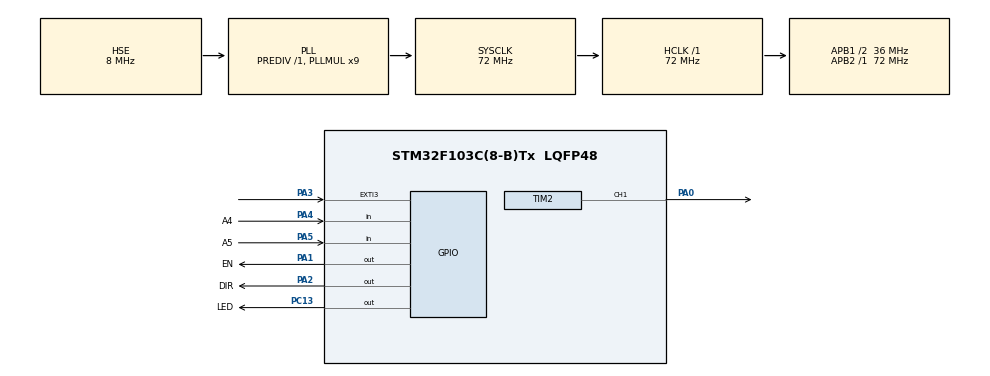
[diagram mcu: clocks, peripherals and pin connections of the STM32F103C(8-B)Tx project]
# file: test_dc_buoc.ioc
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Mcu.Family=STM32F1
Mcu.Name=STM32F103C(8-B)Tx
Mcu.Package=LQFP48
NVIC.EXTI3_IRQn=true\:1\:0\:true\:false\:true\:true\:true\:true
NVIC.PriorityGroup=NVIC_PRIORITYGROUP_4
NVIC.TIM2_IRQn=true\:2\:0\:true\:false\:true\:true\:true\:true
PA0-WKUP.Signal=S_TIM2_CH1_ETR
PA1.GPIO_Label=EN
PA1.GPIO_Speed=GPIO_SPEED_FREQ_HIGH
PA1.Signal=GPIO_Output
PA2.GPIO_Label=DIR
PA2.GPIO_Speed=GPIO_SPEED_FREQ_HIGH
PA2.Signal=GPIO_Output
PA3.Signal=GPXTI3
PA4.GPIO_Label=A4
PA4.GPIO_PuPd=GPIO_PULLUP
PA4.Signal=GPIO_Input
PA5.GPIO_Label=A5
PA5.GPIO_PuPd=GPIO_PULLUP
PA5.Signal=GPIO_Input
PC13-TAMPER-RTC.GPIO_Label=LED
PC13-TAMPER-RTC.Signal=GPIO_Output
PD0-OSC_IN.Mode=HSE-External-Oscillator
PD0-OSC_IN.Signal=RCC_OSC_IN
PD1-OSC_OUT.Mode=HSE-External-Oscillator
PD1-OSC_OUT.Signal=RCC_OSC_OUT
ProjectManager.HeapSize=0x200
ProjectManager.StackSize=0x400
ProjectManager.TargetToolchain=MDK-ARM V5.32
RCC.AHBFreq_Value=72000000
RCC.APB1CLKDivider=RCC_HCLK_DIV2
RCC.APB1Freq_Value=36000000
RCC.APB1TimFreq_Value=72000000
RCC.APB2Freq_Value=72000000
RCC.APB2TimFreq_Value=72000000
RCC.HCLKFreq_Value=72000000
RCC.PLLMUL=RCC_PLL_MUL9
RCC.PLLSourceVirtual=RCC_PLLSOURCE_HSE
RCC.SYSCLKFreq_VALUE=72000000
RCC.SYSCLKSource=RCC_SYSCLKSOURCE_PLLCLK
RCC.USBFreq_Value=72000000
SH.S_TIM2_CH1_ETR.0=TIM2_CH1,PWM Generation1 CH1
TIM1.Prescaler=71
TIM2.Channel-PWM\ Generation1\ CH1=TIM_CHANNEL_1
TIM2.Period=999
TIM2.Prescaler=71
VP_SYS_VS_ND.Mode=No_Debug
VP_TIM1_VS_ClockSourceINT.Mode=Internal
VP_TIM2_VS_ClockSourceINT.Mode=Internal
board=custom

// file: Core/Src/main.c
/* USER CODE BEGIN Header */
/**
  ******************************************************************************
  * @file           : main.c
  * @brief          : Main program body
  ******************************************************************************
  * @attention
  *
  * Copyright (c) 2022 STMicroelectronics.
  * All rights reserved.
  *
  * This software is licensed under terms that can be found in the LICENSE file
  * in the root directory of this software component.
  * If no LICENSE file comes with this software, it is provided AS-IS.
  *
  ******************************************************************************
  */
/* USER CODE END Header */
#include "main.h"

 TIM_HandleTypeDef htim1;
TIM_HandleTypeDef htim2;

void SystemClock_Config(void);
static void MX_GPIO_Init(void);
static void MX_TIM1_Init(void);
static void MX_TIM2_Init(void);

/* USER CODE BEGIN 0 */
void delay_us(uint16_t us)
{
	__HAL_TIM_SetCounter(&htim1,0);
	while(__HAL_TIM_GetCounter(&htim1) < us);
}
void delay_ms(uint16_t ms)
{
	for(uint16_t i = 0; i<ms; i++)
	{
		delay_us(1000);
	}
}

void HAL_GPIO_EXTI_Callback(uint16_t GPIO_PIN)
	{
		if(GPIO_PIN == GPIO_PIN_3)
		{
			HAL_GPIO_WritePin(EN_GPIO_Port,EN_Pin, GPIO_PIN_SET);
		}
	}
/* USER CODE END 0 */

int main(void)
{

  /* MCU Configuration--------------------------------------------------------*/

  /* Reset of all peripherals, Initializes the Flash interface and the Systick. */
  HAL_Init();

  /* Configure the system clock */
  SystemClock_Config();

  /* Initialize all configured peripherals */
  MX_GPIO_Init();
  MX_TIM1_Init();
  MX_TIM2_Init();
  /* USER CODE BEGIN 2 */
	HAL_TIM_Base_Start(&htim1);
	HAL_TIM_PWM_Start(&htim2,TIM_CHANNEL_1);

  /* USER CODE END 2 */

  /* Infinite loop */
  while (1)
  {

    /* USER CODE BEGIN 3 */

			//HAL_GPIO_WritePin(DIR_GPIO_Port, DIR_Pin, GPIO_PIN_SET);
			htim2.Instance->CCR1 = 0;
			HAL_GPIO_WritePin(EN_GPIO_Port, EN_Pin, GPIO_PIN_RESET);
			htim2.Instance->CCR1 = 500;
			delay_ms(5000);

			htim2.Instance->CCR1 = 0;
			delay_ms(2000);

			HAL_GPIO_WritePin(DIR_GPIO_Port, DIR_Pin, GPIO_PIN_RESET);
			htim2.Instance->CCR1 = 500;
			delay_ms(5000);

			htim2.Instance->CCR1 = 0;
			delay_ms(2000);
  }
  /* USER CODE END 3 */
}

void SystemClock_Config(void)
{
  RCC_OscInitTypeDef RCC_OscInitStruct = {0};
  RCC_ClkInitTypeDef RCC_ClkInitStruct = {0};

  /** Initializes the RCC Oscillators according to the specified parameters
  * in the RCC_OscInitTypeDef structure.
  */
  RCC_OscInitStruct.OscillatorType = RCC_OSCILLATORTYPE_HSE;
  RCC_OscInitStruct.HSEState = RCC_HSE_ON;
  RCC_OscInitStruct.HSEPredivValue = RCC_HSE_PREDIV_DIV1;
  RCC_OscInitStruct.HSIState = RCC_HSI_ON;
  RCC_OscInitStruct.PLL.PLLState = RCC_PLL_ON;
  RCC_OscInitStruct.PLL.PLLSource = RCC_PLLSOURCE_HSE;
  RCC_OscInitStruct.PLL.PLLMUL = RCC_PLL_MUL9;
  if (HAL_RCC_OscConfig(&RCC_OscInitStruct) != HAL_OK)
  {
    Error_Handler();
  }

  /** Initializes the CPU, AHB and APB buses clocks
  */
  RCC_ClkInitStruct.ClockType = RCC_CLOCKTYPE_HCLK|RCC_CLOCKTYPE_SYSCLK
                              |RCC_CLOCKTYPE_PCLK1|RCC_CLOCKTYPE_PCLK2;
  RCC_ClkInitStruct.SYSCLKSource = RCC_SYSCLKSOURCE_PLLCLK;
  RCC_ClkInitStruct.AHBCLKDivider = RCC_SYSCLK_DIV1;
  RCC_ClkInitStruct.APB1CLKDivider = RCC_HCLK_DIV2;
  RCC_ClkInitStruct.APB2CLKDivider = RCC_HCLK_DIV1;

  if (HAL_RCC_ClockConfig(&RCC_ClkInitStruct, FLASH_LATENCY_2) != HAL_OK)
  {
    Error_Handler();
  }
}

static void MX_TIM1_Init(void)
{

  TIM_ClockConfigTypeDef sClockSourceConfig = {0};
  TIM_MasterConfigTypeDef sMasterConfig = {0};

  htim1.Instance = TIM1;
  htim1.Init.Prescaler = 71;
  htim1.Init.CounterMode = TIM_COUNTERMODE_UP;
  htim1.Init.Period = 65535;
  htim1.Init.ClockDivision = TIM_CLOCKDIVISION_DIV1;
  htim1.Init.RepetitionCounter = 0;
  htim1.Init.AutoReloadPreload = TIM_AUTORELOAD_PRELOAD_DISABLE;
  if (HAL_TIM_Base_Init(&htim1) != HAL_OK)
  {
    Error_Handler();
  }
  sClockSourceConfig.ClockSource = TIM_CLOCKSOURCE_INTERNAL;
  if (HAL_TIM_ConfigClockSource(&htim1, &sClockSourceConfig) != HAL_OK)
  {
    Error_Handler();
  }
  sMasterConfig.MasterOutputTrigger = TIM_TRGO_RESET;
  sMasterConfig.MasterSlaveMode = TIM_MASTERSLAVEMODE_DISABLE;
  if (HAL_TIMEx_MasterConfigSynchronization(&htim1, &sMasterConfig) != HAL_OK)
  {
    Error_Handler();
  }

}

static void MX_TIM2_Init(void)
{

  TIM_ClockConfigTypeDef sClockSourceConfig = {0};
  TIM_MasterConfigTypeDef sMasterConfig = {0};
  TIM_OC_InitTypeDef sConfigOC = {0};

  htim2.Instance = TIM2;
  htim2.Init.Prescaler = 71;
  htim2.Init.CounterMode = TIM_COUNTERMODE_UP;
  htim2.Init.Period = 999;
  htim2.Init.ClockDivision = TIM_CLOCKDIVISION_DIV1;
  htim2.Init.AutoReloadPreload = TIM_AUTORELOAD_PRELOAD_DISABLE;
  if (HAL_TIM_Base_Init(&htim2) != HAL_OK)
  {
    Error_Handler();
  }
  sClockSourceConfig.ClockSource = TIM_CLOCKSOURCE_INTERNAL;
  if (HAL_TIM_ConfigClockSource(&htim2, &sClockSourceConfig) != HAL_OK)
  {
    Error_Handler();
  }
  if (HAL_TIM_PWM_Init(&htim2) != HAL_OK)
  {
    Error_Handler();
  }
  sMasterConfig.MasterOutputTrigger = TIM_TRGO_RESET;
  sMasterConfig.MasterSlaveMode = TIM_MASTERSLAVEMODE_DISABLE;
  if (HAL_TIMEx_MasterConfigSynchronization(&htim2, &sMasterConfig) != HAL_OK)
  {
    Error_Handler();
  }
  sConfigOC.OCMode = TIM_OCMODE_PWM1;
  sConfigOC.Pulse = 0;
  sConfigOC.OCPolarity = TIM_OCPOLARITY_HIGH;
  sConfigOC.OCFastMode = TIM_OCFAST_DISABLE;
  if (HAL_TIM_PWM_ConfigChannel(&htim2, &sConfigOC, TIM_CHANNEL_1) != HAL_OK)
  {
    Error_Handler();
  }
  HAL_TIM_MspPostInit(&htim2);

}

static void MX_GPIO_Init(void)
{
  GPIO_InitTypeDef GPIO_InitStruct = {0};

  /* GPIO Ports Clock Enable */
  __HAL_RCC_GPIOC_CLK_ENABLE();
  __HAL_RCC_GPIOD_CLK_ENABLE();
  __HAL_RCC_GPIOA_CLK_ENABLE();

  /*Configure GPIO pin Output Level */
  HAL_GPIO_WritePin(LED_GPIO_Port, LED_Pin, GPIO_PIN_RESET);

  /*Configure GPIO pin Output Level */
  HAL_GPIO_WritePin(GPIOA, EN_Pin|DIR_Pin, GPIO_PIN_RESET);

  /*Configure GPIO pin : LED_Pin */
  GPIO_InitStruct.Pin = LED_Pin;
  GPIO_InitStruct.Mode = GPIO_MODE_OUTPUT_PP;
  GPIO_InitStruct.Pull = GPIO_NOPULL;
  GPIO_InitStruct.Speed = GPIO_SPEED_FREQ_LOW;
  HAL_GPIO_Init(LED_GPIO_Port, &GPIO_InitStruct);

  /*Configure GPIO pins : EN_Pin DIR_Pin */
  GPIO_InitStruct.Pin = EN_Pin|DIR_Pin;
  GPIO_InitStruct.Mode = GPIO_MODE_OUTPUT_PP;
  GPIO_InitStruct.Pull = GPIO_NOPULL;
  GPIO_InitStruct.Speed = GPIO_SPEED_FREQ_HIGH;
  HAL_GPIO_Init(GPIOA, &GPIO_InitStruct);

  /*Configure GPIO pin : PA3 */
  GPIO_InitStruct.Pin = GPIO_PIN_3;
  GPIO_InitStruct.Mode = GPIO_MODE_IT_RISING;
  GPIO_InitStruct.Pull = GPIO_NOPULL;
  HAL_GPIO_Init(GPIOA, &GPIO_InitStruct);

  /*Configure GPIO pins : A4_Pin A5_Pin */
  GPIO_InitStruct.Pin = A4_Pin|A5_Pin;
  GPIO_InitStruct.Mode = GPIO_MODE_INPUT;
  GPIO_InitStruct.Pull = GPIO_PULLUP;
  HAL_GPIO_Init(GPIOA, &GPIO_InitStruct);

  /* EXTI interrupt init*/
  HAL_NVIC_SetPriority(EXTI3_IRQn, 1, 0);
  HAL_NVIC_EnableIRQ(EXTI3_IRQn);

}

void Error_Handler(void)
{
  __disable_irq();
  while (1)
  {
  }
}
